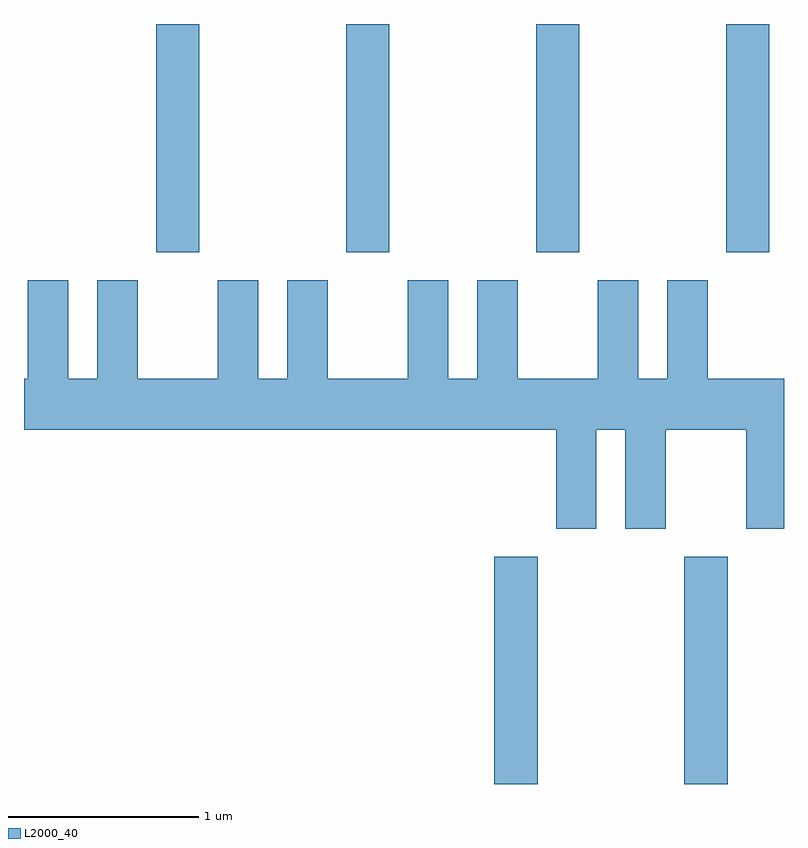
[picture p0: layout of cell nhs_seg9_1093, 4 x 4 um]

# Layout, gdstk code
import gdstk
lib = gdstk.Library(unit=1e-6, precision=1e-09)
def R(c, l, rs):  # rectangles x0, y0, x1, y1
    for r in rs: c.add(gdstk.rectangle(r[:2], r[2:], *l))
def A(c, l, x, y, w, h, nx, ny, dx, dy):  # array of equal rectangles
    R(c, l, [(x+i*dx, y+j*dy, x+i*dx+w, y+j*dy+h) for i in range(nx) for j in range(ny)])
def P(c, l, *ps):  # polygons
    for p in ps: c.add(gdstk.Polygon(p, *l))
L2000_40 = (2000, 40)

nhs_seg9_1093 = lib.new_cell('nhs_seg9_1093')
A(nhs_seg9_1093, L2000_40, 218.306, 1957.231, 0.228, 1.201, 4, 1, 1, 0)
R(nhs_seg9_1093, L2000_40, [(220.086,1954.432,220.314,1955.629), (221.086,1954.432,221.314,1955.629)])
P(nhs_seg9_1093, L2000_40, [(220.624,1956.296),(220.776,1956.296),(220.776,1955.776),(220.989,1955.776),(220.989,1956.296),(221.411,1956.296),(221.411,1955.776),(221.611,1955.776),(221.611,1956.564),(221.209,1956.564),(221.209,1957.084),(220.996,1957.084),(220.996,1956.564),(220.844,1956.564),(220.844,1957.084),(220.631,1957.084),(220.631,1956.564),(220.209,1956.564),(220.209,1957.084),(219.996,1957.084),(219.996,1956.564),(219.844,1956.564),(219.844,1957.084),(219.631,1957.084),(219.631,1956.564),(219.209,1956.564),(219.209,1957.084),(218.996,1957.084),(218.996,1956.564),(218.844,1956.564),(218.844,1957.084),(218.631,1957.084),(218.631,1956.564),(218.209,1956.564),(218.209,1957.084),(217.996,1957.084),(217.996,1956.564),(217.844,1956.564),(217.844,1957.084),(217.631,1957.084),(217.631,1956.564),(217.611,1956.564),(217.611,1956.296),(220.411,1956.296),(220.411,1955.776),(220.624,1955.776)])

lib.write_gds('nhs_seg9_1093.gds')
